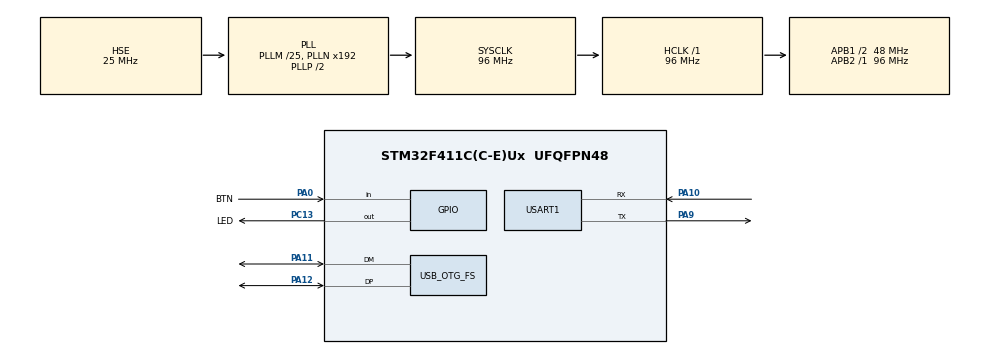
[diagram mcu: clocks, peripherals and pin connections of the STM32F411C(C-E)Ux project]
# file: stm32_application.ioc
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Mcu.Family=STM32F4
Mcu.Name=STM32F411C(C-E)Ux
Mcu.Package=UFQFPN48
NVIC.OTG_FS_IRQn=true\:0\:0\:false\:false\:true\:false\:true\:true
NVIC.PriorityGroup=NVIC_PRIORITYGROUP_4
PA0-WKUP.GPIO_Label=BTN
PA0-WKUP.GPIO_PuPd=GPIO_PULLUP
PA0-WKUP.Signal=GPIO_Input
PA10.Mode=Asynchronous
PA10.Signal=USART1_RX
PA11.Mode=Device_Only
PA11.Signal=USB_OTG_FS_DM
PA12.Mode=Device_Only
PA12.Signal=USB_OTG_FS_DP
PA13.Mode=Serial_Wire
PA13.Signal=SYS_JTMS-SWDIO
PA14.Mode=Serial_Wire
PA14.Signal=SYS_JTCK-SWCLK
PA9.Mode=Asynchronous
PA9.Signal=USART1_TX
PC13-ANTI_TAMP.GPIO_Label=LED
PC13-ANTI_TAMP.GPIO_ModeDefaultOutputPP=GPIO_MODE_OUTPUT_OD
PC13-ANTI_TAMP.GPIO_PuPd=GPIO_NOPULL
PC13-ANTI_TAMP.PinState=GPIO_PIN_SET
PC13-ANTI_TAMP.Signal=GPIO_Output
PH0\ -\ OSC_IN.Mode=HSE-External-Oscillator
PH0\ -\ OSC_IN.Signal=RCC_OSC_IN
PH1\ -\ OSC_OUT.Mode=HSE-External-Oscillator
PH1\ -\ OSC_OUT.Signal=RCC_OSC_OUT
ProjectManager.HeapSize=0x200
ProjectManager.StackSize=0x400
ProjectManager.TargetToolchain=STM32CubeIDE
RCC.48MHZClocksFreq_Value=48000000
RCC.AHBFreq_Value=96000000
RCC.APB1CLKDivider=RCC_HCLK_DIV2
RCC.APB1Freq_Value=48000000
RCC.APB1TimFreq_Value=96000000
RCC.APB2Freq_Value=96000000
RCC.APB2TimFreq_Value=96000000
RCC.CortexFreq_Value=96000000
RCC.HCLKFreq_Value=96000000
RCC.HSE_VALUE=25000000
RCC.HSI_VALUE=16000000
RCC.LSE_VALUE=32768
RCC.PLLM=25
RCC.SYSCLKFreq_VALUE=96000000
RCC.SYSCLKSource=RCC_SYSCLKSOURCE_PLLCLK
RCC.VCOOutputFreq_Value=192000000
USART1.VirtualMode=VM_ASYNC
USB_DEVICE.CLASS_NAME_FS=CDC
USB_DEVICE.VirtualMode=Cdc
USB_DEVICE.VirtualModeFS=Cdc_FS
USB_OTG_FS.VirtualMode=Device_Only
VP_USB_DEVICE_VS_USB_DEVICE_CDC_FS.Mode=CDC_FS
board=custom

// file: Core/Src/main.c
/* USER CODE BEGIN Header */
/**
 ******************************************************************************
 * @file           : main.c
 * @brief          : Main program body
 ******************************************************************************
 * @attention
 *
 * Copyright (c) 2025 STMicroelectronics.
 * All rights reserved.
 *
 * This software is licensed under terms that can be found in the LICENSE file
 * in the root directory of this software component.
 * If no LICENSE file comes with this software, it is provided AS-IS.
 *
 ******************************************************************************
 */
/* USER CODE END Header */
#include "main.h"
#include "usart.h"
#include "usb_device.h"
#include "gpio.h"

/* USER CODE BEGIN PD */

#define APP_ADDR (0x08008000UL)

/* USER CODE END PD */

void SystemClock_Config(void);

/* USER CODE BEGIN 0 */

void jump_to_bootloader(void) {
    uint32_t bootloader_addr = 0x08000000;
    uint32_t bootloader_sp = *(__IO uint32_t*) (bootloader_addr);
    uint32_t bootloader_entry = *(__IO uint32_t*) (bootloader_addr + 4);

    __set_MSP(bootloader_sp);

    ((void (*)(void)) bootloader_entry)();

    while (1) {
        __NOP();
    }
}

/* USER CODE END 0 */

int main(void) {

    /* MCU Configuration--------------------------------------------------------*/

    /* Reset of all peripherals, Initializes the Flash interface and the Systick. */
    HAL_Init();

    /* Configure the system clock */
    SystemClock_Config();

    /* Initialize all configured peripherals */
    MX_GPIO_Init();
    MX_USART1_UART_Init();
    MX_USB_DEVICE_Init();
    /* USER CODE BEGIN 2 */

    printf("\n-----------------\nstm32_application\n-----------------\n");

    uint32_t app_sp = *(__IO uint32_t*) APP_ADDR;
    uint32_t app_entry = *(__IO uint32_t*) (APP_ADDR + 4);

    printf("app_sp    : 0x%08lX\n", app_sp);
    printf("app_entry : 0x%08lX\n", app_entry);

    /* USER CODE END 2 */

    /* Infinite loop */
    /* USER CODE BEGIN WHILE */

    uint32_t now = 0, next_blink_tick = 1000;

    while (1) {
        now = uwTick;

        if (now >= next_blink_tick) {
            HAL_GPIO_TogglePin(LED_GPIO_Port, LED_Pin);

            printf("App_Tick %lu\n", next_blink_tick / 1000);
            next_blink_tick += 1000;
        }

        //        if (next_blink_tick >= 6000) NVIC_SystemReset();

        /* USER CODE END WHILE */

    }
}

void SystemClock_Config(void) {
    RCC_OscInitTypeDef RCC_OscInitStruct = { 0 };
    RCC_ClkInitTypeDef RCC_ClkInitStruct = { 0 };

    /** Configure the main internal regulator output voltage
     */
    __HAL_RCC_PWR_CLK_ENABLE();
    __HAL_PWR_VOLTAGESCALING_CONFIG(PWR_REGULATOR_VOLTAGE_SCALE1);

    /** Initializes the RCC Oscillators according to the specified parameters
     * in the RCC_OscInitTypeDef structure.
     */
    RCC_OscInitStruct.OscillatorType = RCC_OSCILLATORTYPE_HSE;
    RCC_OscInitStruct.HSEState = RCC_HSE_ON;
    RCC_OscInitStruct.PLL.PLLState = RCC_PLL_ON;
    RCC_OscInitStruct.PLL.PLLSource = RCC_PLLSOURCE_HSE;
    RCC_OscInitStruct.PLL.PLLM = 25;
    RCC_OscInitStruct.PLL.PLLN = 192;
    RCC_OscInitStruct.PLL.PLLP = RCC_PLLP_DIV2;
    RCC_OscInitStruct.PLL.PLLQ = 4;
    if (HAL_RCC_OscConfig(&RCC_OscInitStruct) != HAL_OK) {
        Error_Handler();
    }

    /** Initializes the CPU, AHB and APB buses clocks
     */
    RCC_ClkInitStruct.ClockType = RCC_CLOCKTYPE_HCLK | RCC_CLOCKTYPE_SYSCLK | RCC_CLOCKTYPE_PCLK1 | RCC_CLOCKTYPE_PCLK2;
    RCC_ClkInitStruct.SYSCLKSource = RCC_SYSCLKSOURCE_PLLCLK;
    RCC_ClkInitStruct.AHBCLKDivider = RCC_SYSCLK_DIV1;
    RCC_ClkInitStruct.APB1CLKDivider = RCC_HCLK_DIV2;
    RCC_ClkInitStruct.APB2CLKDivider = RCC_HCLK_DIV1;

    if (HAL_RCC_ClockConfig(&RCC_ClkInitStruct, FLASH_LATENCY_3) != HAL_OK) {
        Error_Handler();
    }
}

void Error_Handler(void) {
    __disable_irq();
    while (1) {
    }
}

#ifdef  USE_FULL_ASSERT
/**
  * @brief  Reports the name of the source file and the source line number
  *         where the assert_param error has occurred.
  * @param  file: pointer to the source file name
  * @param  line: assert_param error line source number
  * @retval None
  */
void assert_failed(uint8_t *file, uint32_t line)
{
  /* USER CODE BEGIN 6 */
    /* User can add his own implementation to report the file name and line
       number, ex: printf("Wrong parameters value: file %s on line %d\r\n", file,
       line) */
  /* USER CODE END 6 */
}
#endif /* USE_FULL_ASSERT */
